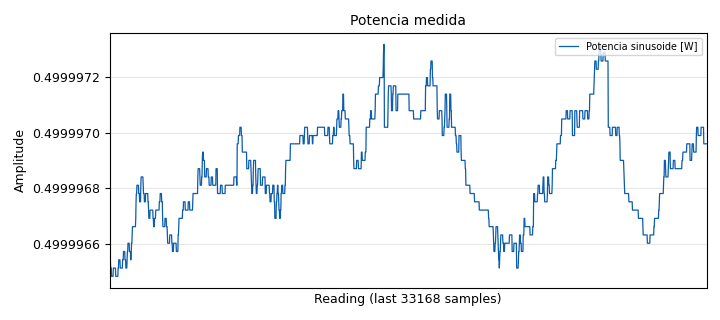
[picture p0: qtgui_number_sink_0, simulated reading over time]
options:
  parameters:
    author: CIT2111 - Comunicaciones Digitales
    description: Laboratorio 1 - Actividad Previa
    generate_options: qt_gui
    id: lab1_potencia
    output_language: python
    title: Lab 1 - Medicion de potencia de la sinusoide
  states: {}

blocks:
- name: samp_rate
  id: variable
  parameters:
    comment: Frecuencia de muestreo [Hz]
    value: 500e3
  states: {}
- name: f_sin
  id: variable
  parameters:
    comment: Frecuencia de la sinusoide [Hz]
    value: 1e3
  states: {}
- name: A
  id: variable
  parameters:
    comment: Amplitud de la sinusoide
    value: '1'
  states: {}
- name: N
  id: variable
  parameters:
    comment: Muestras en un periodo de la sinusoide
    value: int(samp_rate/f_sin)
  states: {}
- name: analog_sig_source_x_0
  id: analog_sig_source_x
  parameters:
    amp: A
    comment: Sinusoide a medir
    freq: f_sin
    offset: '0'
    phase: '0'
    samp_rate: samp_rate
    type: float
    waveform: analog.GR_COS_WAVE
  states: {}
- name: blocks_throttle_0
  id: blocks_throttle
  parameters:
    samples_per_second: samp_rate
    type: float
  states: {}
- name: blocks_multiply_xx_0
  id: blocks_multiply_xx
  parameters:
    comment: x(t)*x(t) = x^2(t)
    type: float
  states: {}
- name: blocks_moving_average_xx_0
  id: blocks_moving_average_xx
  parameters:
    comment: 'Promedio temporal: E[x^2] = potencia'
    length: N
    max_iter: '4000'
    scale: 1.0/N
    type: float
  states: {}
- name: qtgui_number_sink_0
  id: qtgui_number_sink
  parameters:
    graph_type: qtgui.NUM_GRAPH_NONE
    label1: Potencia sinusoide [W]
    max: '2'
    min: '0'
    name: '"Potencia medida"'
    type: float
    unit1: W
  states: {}

connections:
- [analog_sig_source_x_0, '0', blocks_throttle_0, '0']
- [blocks_throttle_0, '0', blocks_multiply_xx_0, '0']
- [blocks_throttle_0, '0', blocks_multiply_xx_0, '1']
- [blocks_multiply_xx_0, '0', blocks_moving_average_xx_0, '0']
- [blocks_moving_average_xx_0, '0', qtgui_number_sink_0, '0']

metadata:
  file_format: 1
  grc_version: 3.10.9.2
